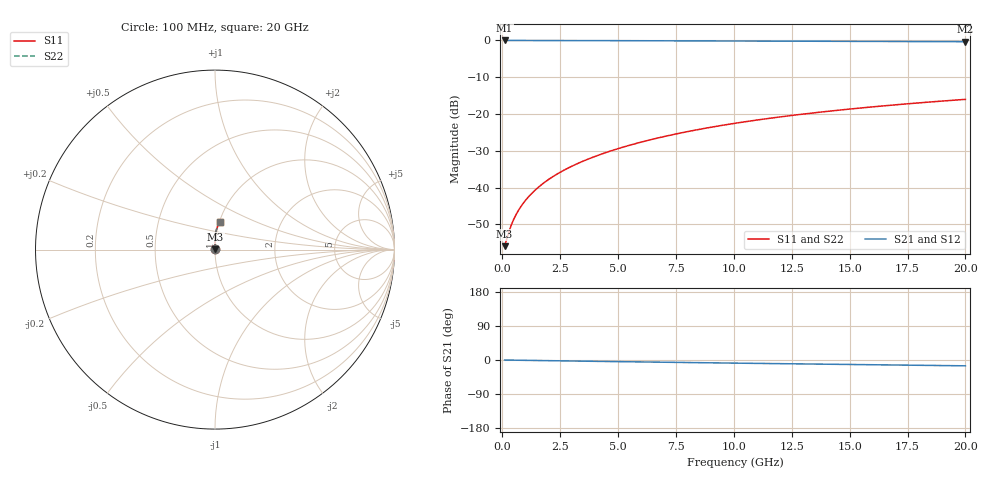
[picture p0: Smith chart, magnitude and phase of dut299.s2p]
! Touchstone file exported from HFSS 2024.1.0
!  File:  C:/UserFiles/LocalFiles/RDL_TSV_Batchsim/temp_RDL_top_299_1778690752.aedt
!  Generated:  12:48:28 AM May 14, 2026
!  Design:  RDL_top
!  Project:  temp_RDL_top_299_1778690752
!  Setup:  Setup1
!  Solution:  Sweep
! Variables:
!  dtsv = 10.80580581um
!  hbump = 3um
!  htsv = 70.89um
!  ldown = 100um
!  lrdl = 192.3um
!  p = 40
!  p1 = 48.9um
!  rhole = 1um
!  t = 450um
!  tdown = 3.915915916um
!  trdl = 2.44um
!  wdown = 15.38538539um
!  wrdl = 26.29um
# GHz S MA R 50.000000
! Terminal data exported
! Port[1] = Box2_T1
! Port[2] = Box2_T2
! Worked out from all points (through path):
!   200 points, 100 MHz to 20 GHz, reference 50 ohm
!   highest |S21| = -0.01 dB at 100 MHz (marker M1); lowest = -0.3 dB at 20 GHz (marker M2)
!   group delay of S21, straight-line fit = 2.11 ps
!   lowest |S11| = -55.9 dB at 100 MHz (marker M3), VSWR 1.00, Z = 50.1 + j0.0723 ohm
!   |S11| at or under -10 dB: start of sweep to end of sweep
!   |S22| runs from -55.9 to -16.0 dB; largest |S21 - S12| = 2.4e-15
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0.1  0.001604 26.7  0.9986 -0.1  0.9986 -0.1  0.001604 26.7
! Gamma 0 0 0 0
! Port Impedance 50 0 50 0
0.3  0.002598 53.9  0.9984 -0.3  0.9984 -0.3  0.002598 53.9
0.4  0.003174 60.1  0.9983 -0.4  0.9983 -0.4  0.003174 60.1
0.5  0.003756 64.4  0.9983 -0.5  0.9983 -0.5  0.003756 64.4
0.6  0.004341 67.6  0.9982 -0.6  0.9982 -0.6  0.004341 67.6
0.8  0.005518 72.3  0.998 -0.7  0.998 -0.7  0.005518 72.3
1  0.006711 75.6  0.9979 -0.9  0.9979 -0.9  0.006711 75.6
1.2  0.007921 78.1  0.9977 -1.1  0.9977 -1.1  0.007921 78.1
1.7  0.01102 82.3  0.9973 -1.5  0.9973 -1.5  0.01102 82.3
2.2  0.01423 85.0  0.9967 -2.0  0.9967 -2.0  0.01423 85.0
2.8  0.01819 87.1  0.9959 -2.5  0.9959 -2.5  0.01819 87.1
3.5  0.02299 88.8  0.9948 -3.1  0.9948 -3.1  0.02299 88.8
4.2  0.02798 89.9  0.9935 -3.7  0.9935 -3.7  0.02798 89.9
5  0.0339 90.7  0.9919 -4.3  0.9919 -4.3  0.0339 90.7
5.9  0.04081 91.1  0.99 -5.1  0.99 -5.1  0.04081 91.1
6.8  0.04795 91.1  0.988 -5.8  0.988 -5.8  0.04795 91.1
8.4  0.06105 90.6  0.9845 -7.0  0.9845 -7.0  0.06105 90.6
10.1  0.07531 89.5  0.9808 -8.3  0.9808 -8.3  0.07532 89.5
11.7  0.08888 88.2  0.9774 -9.5  0.9774 -9.5  0.08889 88.2
13.4  0.1033 86.7  0.9739 -10.7  0.9739 -10.7  0.1033 86.7
16.7  0.1311 83.7  0.9673 -13.1  0.9673 -13.1  0.1311 83.7
20  0.1583 80.8  0.9608 -15.4  0.9608 -15.4  0.1583 80.8
